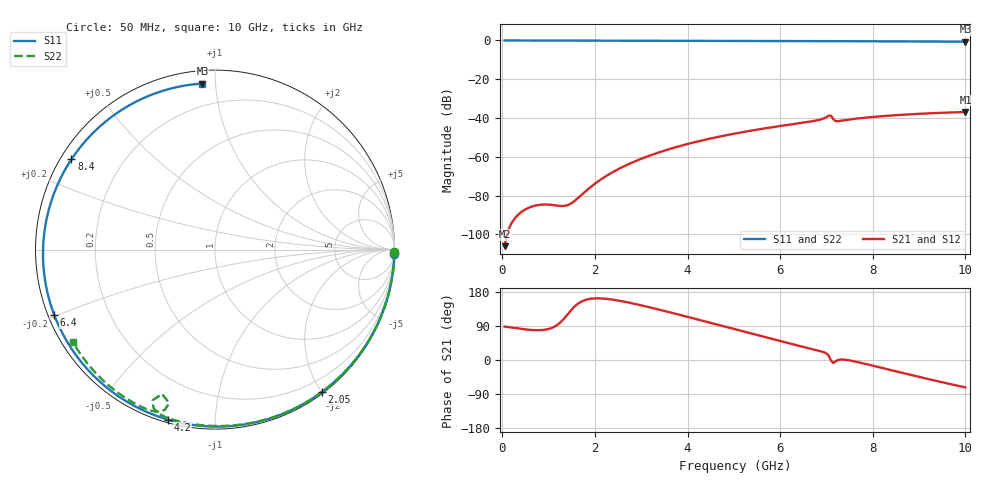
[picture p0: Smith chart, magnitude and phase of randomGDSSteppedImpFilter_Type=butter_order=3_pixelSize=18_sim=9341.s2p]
! freq	dB(S11)	phase(S11)	dB(S12)	phase(S12)
!  dB(S21)	phase(S21)	dB(S22)	phase(S22)
!S-par simulation data
#  GHz  S  DB  R 50
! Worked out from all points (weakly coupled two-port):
!   200 points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, 50 MHz to 10 GHz, reference 50 ohm
!   highest |S21| = -36.89 dB at 10 GHz (marker M1); lowest = -106.0 dB at 50 MHz (marker M2)
!   lowest |S11| = -0.7 dB at 10 GHz (marker M3), VSWR 26.66, Z = 3.48 + j46.2 ohm
!   |S11| at or under -10 dB: nowhere
!   |S22| runs from -1.3 to 0.0 dB; largest |S21 - S12| = 0
!   S11 on the Smith chart (normalised r, x): 50 MHz: 1, -87; 2.05 GHz: 0.02, -2.00; 4.2 GHz: 0.01, -0.76; 6.4 GHz: 0.02, -0.20; 8.4 GHz: 0.03, +0.29; 10 GHz: 0.07, +0.92
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0.05  -0.00 -1.3  -106.02 87.9  -106.02 87.9  -0.00 -0.9
0.85  -0.03 -22.4  -84.62 79.0  -84.62 79.0  -0.02 -14.5
1.65  -0.05 -43.0  -80.90 150.0  -80.90 150.0  -0.04 -27.9
1.75  -0.06 -45.6  -78.76 156.5  -78.76 156.5  -0.04 -29.5
2.05  -0.07 -53.1  -72.96 162.7  -72.96 162.7  -0.04 -34.5
2.65  -0.09 -68.1  -64.59 153.5  -64.59 153.5  -0.06 -44.2
3.4  -0.11 -86.3  -57.55 132.5  -57.55 132.5  -0.07 -56.1
4.2  -0.15 -105.3  -52.17 107.6  -52.17 107.6  -0.10 -68.4
5.05  -0.19 -125.4  -47.85 80.4  -47.85 80.4  -0.12 -81.0
5.75  -0.24 -142.0  -45.01 58.0  -45.01 58.0  -0.15 -91.1
6.4  -0.29 -157.9  -42.71 37.6  -42.71 37.6  -0.19 -100.4
6.7  -0.32 -165.4  -41.60 28.4  -41.60 28.4  -0.22 -105.0
6.95  -0.34 -171.8  -40.11 20.3  -40.11 20.3  -0.36 -109.9
7.05  -0.35 -174.4  -38.77 10.9  -38.77 10.9  -0.83 -112.5
7.1  -0.36 -175.7  -38.80 -2.0  -38.80 -2.0  -1.34 -110.2
7.15  -0.36 -177.0  -40.64 -7.9  -40.64 -7.9  -0.99 -106.6
7.25  -0.37 -179.6  -41.60 -0.0  -41.60 -0.0  -0.43 -108.7
7.8  -0.43 165.3  -39.88 -9.1  -39.88 -9.1  -0.29 -117.9
8.35  -0.49 149.3  -38.77 -25.3  -38.77 -25.3  -0.33 -125.4
8.4  -0.49 147.8  -38.68 -26.8  -38.68 -26.8  -0.33 -126.1
9.3  -0.59 119.0  -37.47 -53.2  -37.47 -53.2  -0.42 -137.9
10  -0.65 94.3  -36.89 -72.3  -36.89 -72.3  -0.50 -147.0
